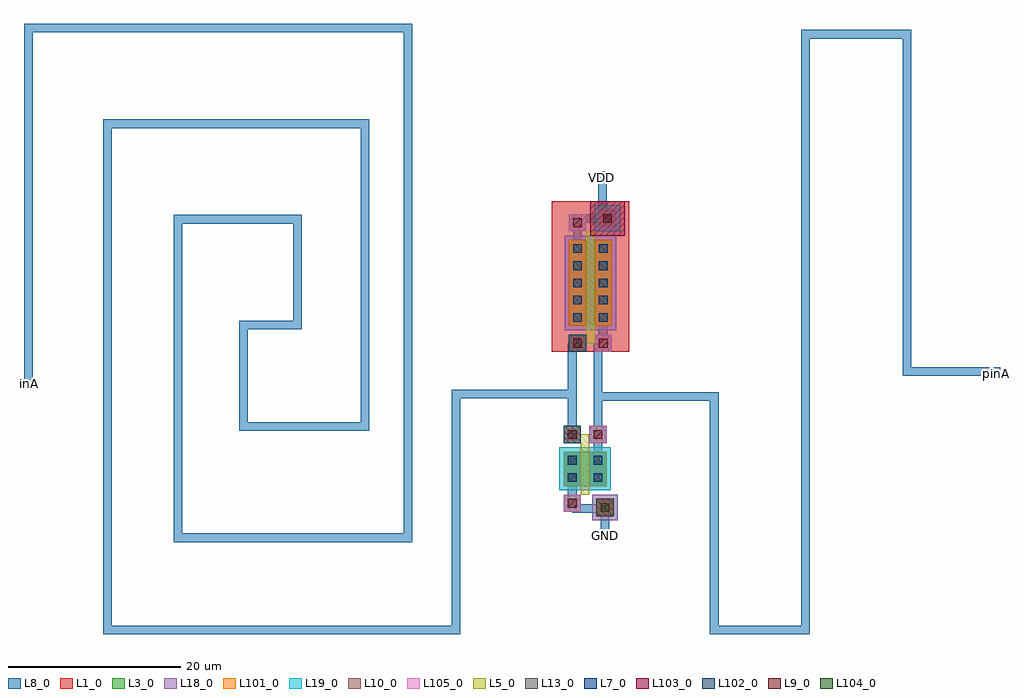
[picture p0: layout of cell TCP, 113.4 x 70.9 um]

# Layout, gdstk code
import gdstk
lib = gdstk.Library(unit=1e-6, precision=1e-07)
def R(c, l, rs):  # rectangles x0, y0, x1, y1
    for r in rs: c.add(gdstk.rectangle(r[:2], r[2:], *l))
L1_0 = (1, 0)
L3_0 = (3, 0)
L5_0 = (5, 0)
L7_0 = (7, 0)
L8_0 = (8, 0)
L9_0 = (9, 0)
L10_0 = (10, 0)
L13_0 = (13, 0)
L18_0 = (18, 0)
L19_0 = (19, 0)
L101_0 = (101, 0)
L102_0 = (102, 0)
L103_0 = (103, 0)
L104_0 = (104, 0)
L105_0 = (105, 0)

dcont = lib.new_cell('dcont')
R(dcont, L3_0, [(-1,-1,1,1)])
R(dcont, L7_0, [(-0.5,-0.5,0.5,0.5)])
R(dcont, L8_0, [(-1,-1,1,1)])
R(dcont, L13_0, [(-0.5,-0.5,0.5,0.5)])
R(dcont, L101_0, [(-1,-1,1,1)])

pcont = lib.new_cell('pcont')
R(pcont, L5_0, [(-1,-1,1,1)])
R(pcont, L7_0, [(-0.5,-0.5,0.5,0.5)])
R(pcont, L8_0, [(-1,-1,1,1)])
R(pcont, L13_0, [(-0.5,-0.5,0.5,0.5)])
R(pcont, L102_0, [(-1,-1,1,1)])

via = lib.new_cell('Via')
R(via, L8_0, [(-1,-1,1,1)])
R(via, L9_0, [(-0.5,-0.5,0.5,0.5)])
R(via, L10_0, [(-1,-1,1,1)])
R(via, L13_0, [(-0.5,-0.5,0.5,0.5)])
R(via, L105_0, [(-1,-1,1,1)])

dcont1 = lib.new_cell('dcont1')
R(dcont1, L3_0, [(-1,-1,1,1)])
R(dcont1, L7_0, [(-0.5,-0.5,0.5,0.5)])
R(dcont1, L8_0, [(-1,-1,1,1)])
R(dcont1, L13_0, [(-0.5,-0.5,0.5,0.5)])
R(dcont1, L101_0, [(-1,-1,1,1)])

psubcont = lib.new_cell('psubcont')
R(psubcont, L18_0, [(-1.5,-1.5,1.5,1.5)])
R(psubcont, L104_0, [(-1,-1,1,1)])
psubcont.add(gdstk.Reference(dcont1, (0,0)))

nch = lib.new_cell('Nch')
R(nch, L3_0, [(0,3,5,7)])
R(nch, L19_0, [(-0.5,2.5,5.5,7.5)])
nch.add(gdstk.FlexPath([(1,3),(1,7)], 2, ends="flush", simple_path=True, layer=8, datatype=0))  # L8_0
nch.add(gdstk.FlexPath([(4,3),(4,7)], 2, ends="flush", simple_path=True, layer=8, datatype=0))  # L8_0
nch.add(gdstk.FlexPath([(1,1),(1,4)], 1, ends="flush", simple_path=True, layer=8, datatype=0))  # L8_0
nch.add(gdstk.FlexPath([(4,6),(4,9)], 1, ends="flush", simple_path=True, layer=8, datatype=0))  # L8_0
nch.add(gdstk.FlexPath([(2.5,3),(2.5,7)], 1, ends=(1, 1), simple_path=True, layer=5, datatype=0))  # L5_0
nch.add(gdstk.FlexPath([(1,8.5),(2.5,8.5),(2.5,8)], 1, ends="flush", simple_path=True, layer=5, datatype=0))  # L5_0
nch.add(gdstk.Reference(dcont, (1,4)))
nch.add(gdstk.Reference(dcont, (1,6)))
nch.add(gdstk.Reference(dcont, (4,4)))
nch.add(gdstk.Reference(dcont, (4,6)))
nch.add(gdstk.Reference(pcont, (1,9)))
nch.add(gdstk.Reference(via, (1,9)))
nch.add(gdstk.Reference(via, (1,1)))
nch.add(gdstk.Reference(via, (4,9)))
nch.add(gdstk.Reference(psubcont, (4.8,0.5)))
nch.add(gdstk.Reference(via, (4.8,0.5)))

nsubcont = lib.new_cell('nsubcont')
R(nsubcont, L1_0, [(-2,-2,2,2)])
R(nsubcont, L19_0, [(-1.5,-1.5,1.5,1.5)])
R(nsubcont, L103_0, [(-2,-2,2,2)])
nsubcont.add(gdstk.Reference(dcont1, (0,0)))

pch = lib.new_cell('Pch')
R(pch, L1_0, [(-2,0,7,17.5)])
R(pch, L3_0, [(0,3,5,13)])
R(pch, L18_0, [(-0.5,2.5,5.5,13.5)])
pch.add(gdstk.FlexPath([(1,3),(1,13)], 2, ends="flush", simple_path=True, layer=8, datatype=0))  # L8_0
pch.add(gdstk.FlexPath([(4,3),(4,13)], 2, ends="flush", simple_path=True, layer=8, datatype=0))  # L8_0
pch.add(gdstk.FlexPath([(1,12),(1,15)], 1, ends="flush", simple_path=True, layer=8, datatype=0))  # L8_0
pch.add(gdstk.FlexPath([(4,1),(4,4)], 1, ends="flush", simple_path=True, layer=8, datatype=0))  # L8_0
pch.add(gdstk.FlexPath([(2.5,3),(2.5,13)], 1, ends=(1, 1), simple_path=True, layer=5, datatype=0))  # L5_0
pch.add(gdstk.FlexPath([(1,1.5),(2.5,1.5),(2.5,2)], 1, ends="flush", simple_path=True, layer=5, datatype=0))  # L5_0
pch.add(gdstk.Reference(dcont, (1,4)))
pch.add(gdstk.Reference(dcont, (1,6)))
pch.add(gdstk.Reference(dcont, (1,8)))
pch.add(gdstk.Reference(dcont, (1,10)))
pch.add(gdstk.Reference(dcont, (1,12)))
pch.add(gdstk.Reference(dcont, (4,4)))
pch.add(gdstk.Reference(dcont, (4,6)))
pch.add(gdstk.Reference(dcont, (4,8)))
pch.add(gdstk.Reference(dcont, (4,10)))
pch.add(gdstk.Reference(dcont, (4,12)))
pch.add(gdstk.Reference(pcont, (1,1)))
pch.add(gdstk.Reference(via, (1,1)))
pch.add(gdstk.Reference(via, (1,15)))
pch.add(gdstk.Reference(via, (4,1)))
pch.add(gdstk.Reference(nsubcont, (4.5,15.5)))
pch.add(gdstk.Reference(via, (4.5,15.5)))

tcp = lib.new_cell('TCP')
tcp.add(gdstk.FlexPath([(3.1,-2),(-10.2,-2),(-10.2,-29.4),(-50.7,-29.4),(-50.7,29.4),(-20.8,29.4),(-20.8,-5.8),(-34.9,-5.8),(-34.9,6),(-28.6,6),(-28.6,18.3),(-42.5,18.3),(-42.5,-18.7),(-15.8,-18.7),(-15.8,40.5),(-59.9,40.5),(-59.9,39.1),(-59.9,39.1),(-59.9,-1.1)], 1, ends="flush", simple_path=True, layer=8, datatype=0))  # L8_0
tcp.add(gdstk.FlexPath([(6.8,-2.3),(19.8,-2.3),(19.8,-29.4),(30.4,-29.4),(30.4,39.8),(42.2,39.8),(42.2,0.6),(53,0.6)], 1, ends="flush", simple_path=True, layer=8, datatype=0))  # L8_0
tcp.add(gdstk.FlexPath([(6.8,18.4),(3.3,18.4)], 1, ends="flush", simple_path=True, layer=8, datatype=0))  # L8_0
tcp.add(gdstk.FlexPath([(6.8,18.4),(6.8,23.9)], 1, ends="flush", simple_path=True, layer=8, datatype=0))  # L8_0
tcp.add(gdstk.FlexPath([(7.1,-15.4),(7.1,-18.8)], 1, ends="flush", simple_path=True, layer=8, datatype=0))  # L8_0
tcp.add(gdstk.FlexPath([(6.3,3.8),(6.3,-6.7),(6.4,-6.7),(6.4,-6.7)], 1, ends="flush", simple_path=True, layer=8, datatype=0))  # L8_0
tcp.add(gdstk.FlexPath([(3.3,3.9),(3.3,-6.6)], 1, ends="flush", simple_path=True, layer=8, datatype=0))  # L8_0
tcp.add(gdstk.FlexPath([(7.2,-15.3),(3.3,-15.3)], 1, ends="flush", simple_path=True, layer=8, datatype=0))  # L8_0
tcp.add(gdstk.Reference(nch, (2.3,-15.7)))
tcp.add(gdstk.Reference(pch, (2.9,2.9)))
tcp.add(gdstk.Label('VDD', (6.7,23.2), layer=8, texttype=0))
tcp.add(gdstk.Label('GND', (7.2,-18.4), layer=8, texttype=0))
tcp.add(gdstk.Label('inA', (-59.8,-0.8), layer=8, texttype=0))
tcp.add(gdstk.Label('pinA', (52.6,0.4), layer=8, texttype=0))

lib.write_gds('TCP.gds')
